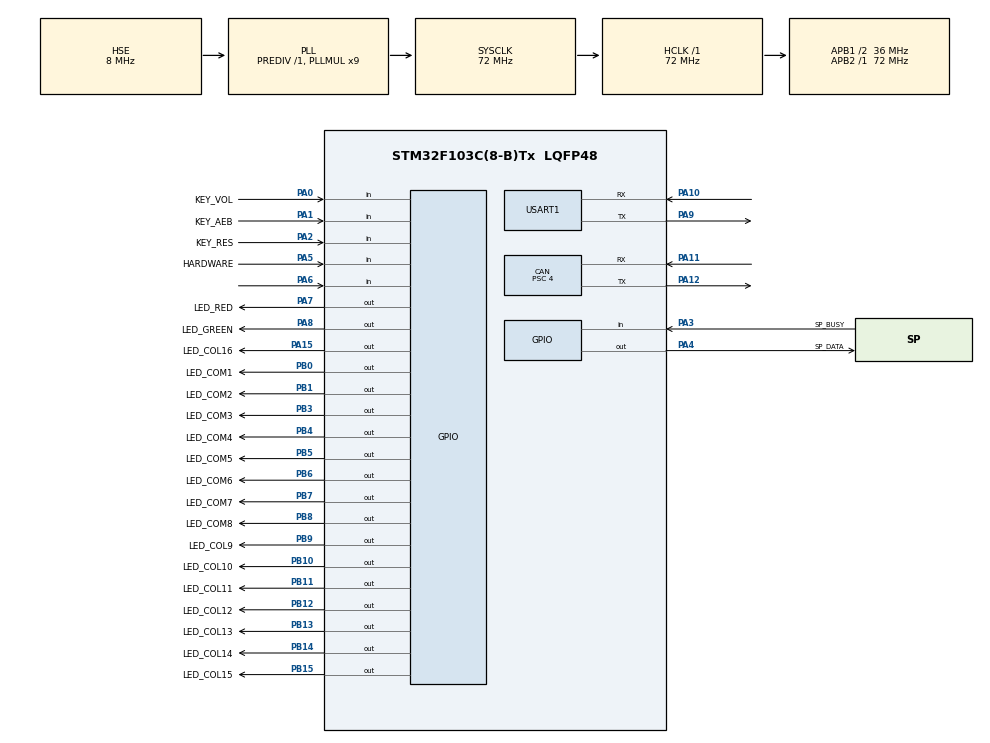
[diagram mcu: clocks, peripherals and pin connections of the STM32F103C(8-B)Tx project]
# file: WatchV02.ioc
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CAN.BS1=CAN_BS1_9TQ
CAN.BS2=CAN_BS2_8TQ
CAN.CalculateTimeBit=2000
CAN.CalculateTimeQuantum=111.11111111111111
CAN.Prescaler=4
Mcu.Family=STM32F1
Mcu.Name=STM32F103C(8-B)Tx
Mcu.Package=LQFP48
NVIC.PriorityGroup=NVIC_PRIORITYGROUP_4
NVIC.TIM2_IRQn=true\:1\:0\:true\:false\:true\:true\:true
NVIC.TIM3_IRQn=true\:2\:0\:true\:false\:true\:true\:true
NVIC.USB_LP_CAN1_RX0_IRQn=true\:3\:0\:true\:false\:true\:true\:true
PA0-WKUP.GPIO_Label=KEY_VOL
PA0-WKUP.Signal=GPIO_Input
PA1.GPIO_Label=KEY_AEB
PA1.Signal=GPIO_Input
PA10.Mode=Asynchronous
PA10.Signal=USART1_RX
PA11.Mode=Master
PA11.Signal=CAN_RX
PA12.Mode=Master
PA12.Signal=CAN_TX
PA13.Mode=Serial_Wire
PA13.Signal=SYS_JTMS-SWDIO
PA14.Mode=Serial_Wire
PA14.Signal=SYS_JTCK-SWCLK
PA15.GPIO_Label=LED_COL16
PA15.Signal=GPIO_Output
PA2.GPIO_Label=KEY_RES
PA2.Signal=GPIO_Input
PA3.GPIO_Label=SP_BUSY
PA3.GPIO_PuPd=GPIO_NOPULL
PA3.Signal=GPIO_Input
PA4.GPIO_Label=SP_DATA
PA4.Signal=GPIO_Output
PA5.GPIO_Label=HARDWARE
PA5.Signal=GPIO_Input
PA6.Signal=GPIO_Input
PA7.GPIO_Label=LED_RED
PA7.Signal=GPIO_Output
PA8.GPIO_Label=LED_GREEN
PA8.Signal=GPIO_Output
PA9.Mode=Asynchronous
PA9.Signal=USART1_TX
PB0.GPIO_Label=LED_COM1
PB0.Signal=GPIO_Output
PB1.GPIO_Label=LED_COM2
PB1.PinState=GPIO_PIN_RESET
PB1.Signal=GPIO_Output
PB10.GPIO_Label=LED_COL10
PB10.PinState=GPIO_PIN_RESET
PB10.Signal=GPIO_Output
PB11.GPIO_Label=LED_COL11
PB11.PinState=GPIO_PIN_RESET
PB11.Signal=GPIO_Output
PB12.GPIO_Label=LED_COL12
PB12.PinState=GPIO_PIN_RESET
PB12.Signal=GPIO_Output
PB13.GPIO_Label=LED_COL13
PB13.PinState=GPIO_PIN_RESET
PB13.Signal=GPIO_Output
PB14.GPIO_Label=LED_COL14
PB14.PinState=GPIO_PIN_RESET
PB14.Signal=GPIO_Output
PB15.GPIO_Label=LED_COL15
PB15.PinState=GPIO_PIN_RESET
PB15.Signal=GPIO_Output
PB3.GPIO_Label=LED_COM3
PB3.PinState=GPIO_PIN_RESET
PB3.Signal=GPIO_Output
PB4.GPIO_Label=LED_COM4
PB4.PinState=GPIO_PIN_RESET
PB4.Signal=GPIO_Output
PB5.GPIO_Label=LED_COM5
PB5.PinState=GPIO_PIN_RESET
PB5.Signal=GPIO_Output
PB6.GPIO_Label=LED_COM6
PB6.PinState=GPIO_PIN_RESET
PB6.Signal=GPIO_Output
PB7.GPIO_Label=LED_COM7
PB7.PinState=GPIO_PIN_RESET
PB7.Signal=GPIO_Output
PB8.GPIO_Label=LED_COM8
PB8.PinState=GPIO_PIN_RESET
PB8.Signal=GPIO_Output
PB9.GPIO_Label=LED_COL9
PB9.PinState=GPIO_PIN_RESET
PB9.Signal=GPIO_Output
PD0-OSC_IN.Mode=HSE-External-Oscillator
PD0-OSC_IN.Signal=RCC_OSC_IN
PD1-OSC_OUT.Mode=HSE-External-Oscillator
PD1-OSC_OUT.Signal=RCC_OSC_OUT
ProjectManager.HeapSize=0x200
ProjectManager.StackSize=0x400
ProjectManager.TargetToolchain=STM32CubeIDE
RCC.AHBFreq_Value=72000000
RCC.APB1CLKDivider=RCC_HCLK_DIV2
RCC.APB1Freq_Value=36000000
RCC.APB1TimFreq_Value=72000000
RCC.APB2Freq_Value=72000000
RCC.APB2TimFreq_Value=72000000
RCC.HCLKFreq_Value=72000000
RCC.PLLMUL=RCC_PLL_MUL9
RCC.PLLSourceVirtual=RCC_PLLSOURCE_HSE
RCC.SYSCLKFreq_VALUE=72000000
RCC.SYSCLKSource=RCC_SYSCLKSOURCE_PLLCLK
RCC.USBFreq_Value=72000000
TIM2.AutoReloadPreload=TIM_AUTORELOAD_PRELOAD_ENABLE
TIM2.Period=7199
TIM3.AutoReloadPreload=TIM_AUTORELOAD_PRELOAD_ENABLE
TIM3.Period=4999
TIM3.Prescaler=7199
USART1.VirtualMode=VM_ASYNC
VP_TIM2_VS_ClockSourceINT.Mode=Internal
VP_TIM3_VS_ClockSourceINT.Mode=Internal
board=custom

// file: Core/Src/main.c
/* USER CODE BEGIN Header */
/**
 ******************************************************************************
 * @file           : main.c
 * @brief          : Main program body
 ******************************************************************************
 * @attention
 *
 * <h2><center>&copy; Copyright (c) 2020 STMicroelectronics.
 * All rights reserved.</center></h2>
 *
 * This software component is licensed by ST under BSD 3-Clause license,
 * the "License"; You may not use this file except in compliance with the
 * License. You may obtain a copy of the License at:
 *                        opensource.org/licenses/BSD-3-Clause
 *
 ******************************************************************************
 */
/* USER CODE END Header */

#include "main.h"
#include "can.h"
#include "tim.h"
#include "usart.h"
#include "gpio.h"

/* USER CODE BEGIN Includes */
#include "sys.h"
#include "speaker.h"
#include "led.h"
/* USER CODE END Includes */

/* USER CODE BEGIN PV */
uint32_t tick = 0;
uint8_t aebConnected = 0;
uint8_t bsdConnected = 0;
/*用来记录初始按键电平*/
volatile uint32_t latchSta = 0;
uint32_t keyCnt = 0;
uint32_t volCnt = 0;
uint8_t numTab[] = { 0x3f, 0x06, 0x5b, 0x4f, 0x66, 0x6d, 0x7d, 0x07, 0x7f, 0x6f,
		0x77, 0x7c, 0x39, 0x5e, 0x79, 0x71 };

uint8_t num = 0;
LED_t led = { 0 };
/* USER CODE END PV */

void SystemClock_Config(void);

/* USER CODE BEGIN 0 */

void AlarmKeyScan(void)
{
	/*按键切换状态*/
	if (PAin(6) == latchSta)
	{
		latchSta = !PAin(6);
		PAout(8) = ~PAout(8);
		SetAebState(keyCnt % 2);

		keyCnt++;
		/*按六次音量调节*/
		if ((keyCnt % 6 == 0) && (keyCnt != 0))
		{
			volCnt++;
			SetVolume(volCnt % 3);
		}
	}
}

void LedTest(void)
{
	while (num != 15)
	{
		LedDisplay(1, numTab[num]);
		LedDisplay(2, numTab[num]);
		LedDisplay(3, 0x3f);
		LedDisplay(4, 0x3f);
		/*人*/
		LedDisplay(5 + num % 3, 0x0f);
		/*车*/
		LedDisplay(5 + num % 3, 0xf0);
		/*AEB绿*/
		LedDisplay(3, 0x40);
		/*AEB红*/
		LedDisplay(8, 0x01);
		/*故障*/
		LedDisplay(8, 0x02);
		/*小数点*/
		LedDisplay(1, 0x80);
		if (GetSysticks() % 1000 == 0)
		{
			num = (num + 1) % 16;
		}
	}
}
/* USER CODE END 0 */

int main(void)
{
	/* USER CODE BEGIN 1 */
//uint8_t buf[8]={0};
	/* USER CODE END 1 */

	/* MCU Configuration--------------------------------------------------------*/

	/* Reset of all peripherals, Initializes the Flash interface and the Systick. */
	HAL_Init();

	/* Configure the system clock */
	SystemClock_Config();

	/* Initialize all configured peripherals */
	MX_GPIO_Init();
	MX_CAN_Init();
	MX_USART1_UART_Init();
	MX_TIM2_Init();
	MX_TIM3_Init();
	/* USER CODE BEGIN 2 */
	CanFilterConfigScale16IdList();
	HAL_TIM_Base_Start_IT(&htim2);
	HAL_TIM_Base_Start_IT(&htim3);
	KeyInit();

	/*第一次播，但不出声*/
//	PlayVoice(SP_WELCOME);
	HAL_Delay(200);
	PlayVoice(SP_WELCOME);

	if (GetHardwareType() == HW_WATCH)
	{
		LED_COM1 = 1;
		LED_COL9 = 1;
//						LedTest();
		led.aebStateGreen = 0;
		led.numLeft = 0;
		led.numRight = 0;
		led.aebStateRed = 0;
		led.carGreen = 0;
		led.carRed = 0;
		led.carYellow = 0;
		led.peopleRed = 0;
		led.peopleGreen = 0;
		led.peopleYellow = 0;
		led.rightLine = 0;
		led.leftLine = 0;
		led.fault = 0;
		led.numLeft = 0;
		led.numRight = 0;
		led.point = 0;
//		led.aebStateRed = LED_AEB_RED;
//		led.carGreen = LED_CAR;
//		led.carRed = LED_CAR;
//		led.carYellow = LED_CAR;
//		led.peopleRed = LED_PEOPLE;
//		led.peopleGreen = LED_PEOPLE;
//		led.peopleYellow = LED_PEOPLE;
//		led.rightLine = LED_ROADLINE;
//		led.leftLine = LED_ROADLINE;
//		led.fault = LED_FAULT;
//		led.numLeft = numTab[8];
//		led.numRight = numTab[8];
//		led.point = LED_POINT;
	}
	SetAebState(AEB_ON);

	HAL_Delay(1000);
//	if (msg11e.flg == 1)  	  	  	  	  	  	  	  	  	  //AEB已连
//	{
//		aebConnected = 1;
//	}
//	if (msg11b.flg == 1)  	  	  	  	  	  	  	  	  	  //BSD已连
//	{
//		bsdConnected = 1;
//	}

	if (GetHardwareType() == HW_ALARM)
	{
		PAout(8) = 1;
		PAout(7) = 0;
		/*read key state*/
		latchSta = PAin(6);
		latchSta = !latchSta;
	}
	/* USER CODE END 2 */

	/* Infinite loop */
	while (1)
	{

		/* USER CODE BEGIN 3 */

		if (GetHardwareType() == HW_ALARM)
		{
			AlarmKeyScan();
		}
		else if (GetHardwareType() == HW_WATCH)
		{
			ScanKey();
			/*左数码管和小数点*/
			LedDisplay(1, led.numLeft | led.point);
			/*右数码管*/
			LedDisplay(2, led.numRight);
			/*左车道线和绿AEB*/
			LedDisplay(3, led.leftLine | led.aebStateGreen);
			/*右车道线*/
			LedDisplay(4, led.rightLine);
			/*人和车 黄  绿 红*/
			LedDisplay(5, led.peopleYellow | led.carYellow);
			LedDisplay(6, led.peopleGreen | led.carGreen);
			LedDisplay(7, led.peopleRed | led.carRed);
			/*AEB红和故障*/
			LedDisplay(8, led.aebStateRed | led.fault);
		}
		/*every 200ms send heartbeat*/
		if (GetSysticks() - tick >= 200)
		{
			tick = GetSysticks();
			SetAebState(keyCnt % 2);
		}
		/*解析收到的CAN数据*/
		CanDataAnalisys();

	}
	/* USER CODE END 3 */
}

void SystemClock_Config(void)
{
	RCC_OscInitTypeDef RCC_OscInitStruct = { 0 };
	RCC_ClkInitTypeDef RCC_ClkInitStruct = { 0 };

	/** Initializes the CPU, AHB and APB busses clocks
	 */
	RCC_OscInitStruct.OscillatorType = RCC_OSCILLATORTYPE_HSE;
	RCC_OscInitStruct.HSEState = RCC_HSE_ON;
	RCC_OscInitStruct.HSEPredivValue = RCC_HSE_PREDIV_DIV1;
	RCC_OscInitStruct.HSIState = RCC_HSI_ON;
	RCC_OscInitStruct.PLL.PLLState = RCC_PLL_ON;
	RCC_OscInitStruct.PLL.PLLSource = RCC_PLLSOURCE_HSE;
	RCC_OscInitStruct.PLL.PLLMUL = RCC_PLL_MUL9;
	if (HAL_RCC_OscConfig(&RCC_OscInitStruct) != HAL_OK)
	{
		Error_Handler();
	}
	/** Initializes the CPU, AHB and APB busses clocks
	 */
	RCC_ClkInitStruct.ClockType = RCC_CLOCKTYPE_HCLK | RCC_CLOCKTYPE_SYSCLK
			| RCC_CLOCKTYPE_PCLK1 | RCC_CLOCKTYPE_PCLK2;
	RCC_ClkInitStruct.SYSCLKSource = RCC_SYSCLKSOURCE_PLLCLK;
	RCC_ClkInitStruct.AHBCLKDivider = RCC_SYSCLK_DIV1;
	RCC_ClkInitStruct.APB1CLKDivider = RCC_HCLK_DIV2;
	RCC_ClkInitStruct.APB2CLKDivider = RCC_HCLK_DIV1;

	if (HAL_RCC_ClockConfig(&RCC_ClkInitStruct, FLASH_LATENCY_2) != HAL_OK)
	{
		Error_Handler();
	}
}

void Error_Handler(void)
{
}

/************************ (C) COPYRIGHT STMicroelectronics *****END OF FILE****/
